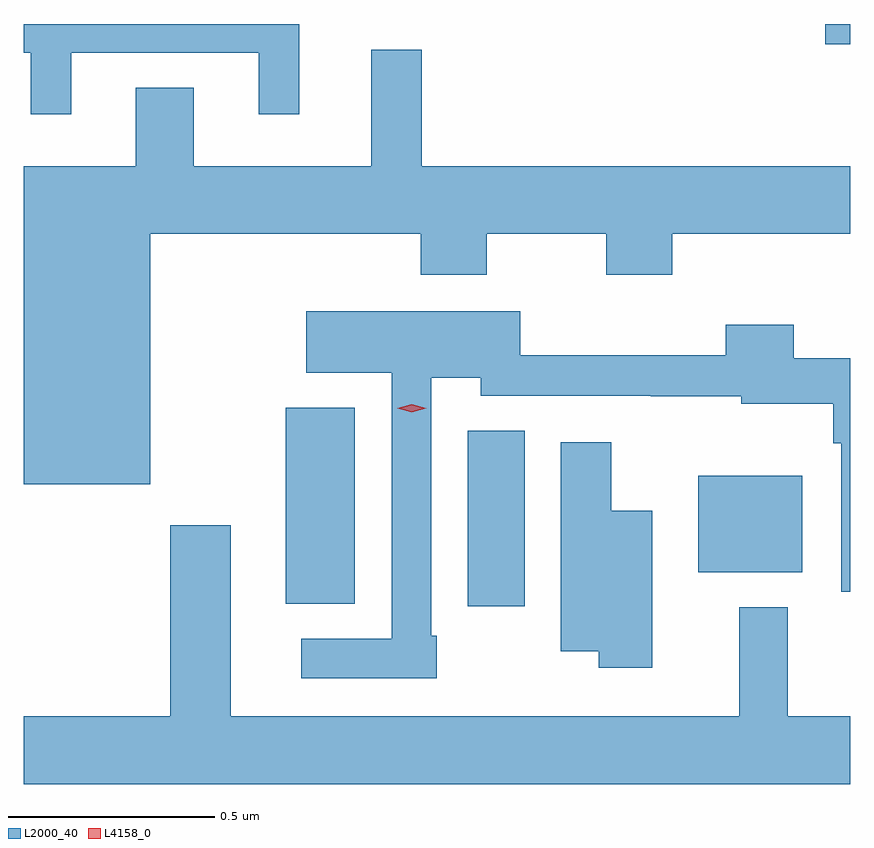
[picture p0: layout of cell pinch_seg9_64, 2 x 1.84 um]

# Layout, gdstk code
import gdstk
lib = gdstk.Library(unit=1e-6, precision=1e-09)
def R(c, l, rs):  # rectangles x0, y0, x1, y1
    for r in rs: c.add(gdstk.rectangle(r[:2], r[2:], *l))
def P(c, l, *ps):  # polygons
    for p in ps: c.add(gdstk.Polygon(p, *l))
L2000_40 = (2000, 40)
L4158_0 = (4158, 0)

pinch_seg9_64 = lib.new_cell('pinch_seg9_64')
R(pinch_seg9_64, L2000_40, [(905.285,1186.194,905.422,1186.619), (904.844,1186.201,905.011,1186.675), (905.843,1186.277,906.094,1186.51), (906.15,1187.555,906.21,1187.604)])
P(pinch_seg9_64, L2000_40, [(904.324,1187.535),(904.778,1187.535),(904.778,1187.385),(904.876,1187.385),(904.876,1187.604),(904.21,1187.604),(904.21,1187.535),(904.226,1187.535),(904.226,1187.385),(904.324,1187.385)],
  [(904.516,1187.096),(905.171,1187.096),(905.171,1186.997),(905.331,1186.997),(905.331,1187.096),(905.62,1187.096),(905.62,1186.997),(905.78,1186.997),(905.78,1187.096),(906.21,1187.096),(906.21,1187.26),(905.173,1187.26),(905.173,1187.542),(905.051,1187.542),(905.051,1187.26),(904.621,1187.26),(904.621,1187.45),(904.481,1187.45),(904.481,1187.26),(904.21,1187.26),(904.21,1186.49),(904.516,1186.49)],
  [(905.209,1186.123),(905.196,1186.123),(905.196,1186.748),(905.316,1186.748),(905.316,1186.704),(905.728,1186.704),(905.728,1186.703),(905.946,1186.703),(905.946,1186.685),(906.169,1186.685),(906.169,1186.589),(906.189,1186.589),(906.189,1186.23),(906.21,1186.23),(906.21,1186.795),(906.074,1186.795),(906.074,1186.876),(905.909,1186.876),(905.909,1186.802),(905.412,1186.802),(905.412,1186.909),(904.893,1186.909),(904.893,1186.76),(905.1,1186.76),(905.1,1186.116),(904.881,1186.116),(904.881,1186.02),(905.209,1186.02)],
  [(905.731,1186.426),(905.632,1186.426),(905.632,1186.591),(905.51,1186.591),(905.51,1186.085),(905.602,1186.085),(905.602,1186.046),(905.731,1186.046)],
  [(906.21,1185.928),(906.059,1185.928),(906.059,1186.192),(905.942,1186.192),(905.942,1185.928),(904.711,1185.928),(904.711,1186.39),(904.564,1186.39),(904.564,1185.928),(904.21,1185.928),(904.21,1185.764),(906.21,1185.764)])
P(pinch_seg9_64, L4158_0, [(905.149,1186.664),(905.114,1186.674),(905.114,1186.674),(905.114,1186.674),(905.149,1186.684),(905.184,1186.674),(905.184,1186.674),(905.184,1186.674)])

lib.write_gds('pinch_seg9_64.gds')
